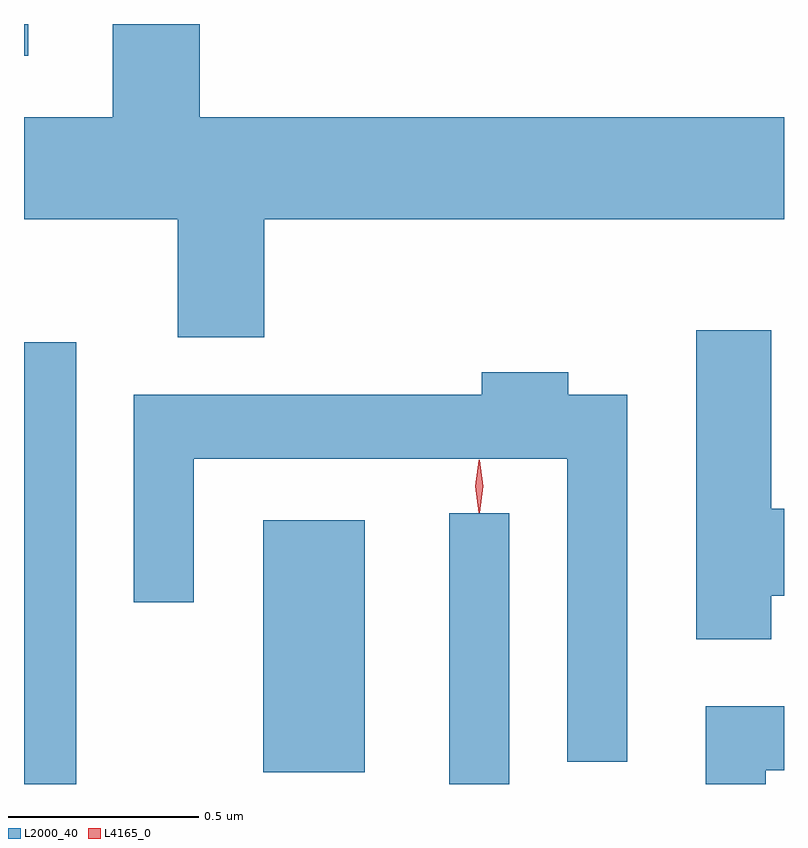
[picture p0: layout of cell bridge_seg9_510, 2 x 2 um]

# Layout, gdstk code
import gdstk
lib = gdstk.Library(unit=1e-6, precision=1e-09)
def R(c, l, rs):  # rectangles x0, y0, x1, y1
    for r in rs: c.add(gdstk.rectangle(r[:2], r[2:], *l))
def P(c, l, *ps):  # polygons
    for p in ps: c.add(gdstk.Polygon(p, *l))
L2000_40 = (2000, 40)
L4165_0 = (4165, 0)

bridge_seg9_510 = lib.new_cell('bridge_seg9_510')
R(bridge_seg9_510, L2000_40, [(548.377,1972.57,548.514,1973.733), (549.496,1972.57,549.654,1973.283), (549.006,1972.601,549.274,1973.264), (548.377,1974.486,548.388,1974.57)])
P(bridge_seg9_510, L2000_40, [(549.009,1974.056),(550.377,1974.056),(550.377,1974.324),(548.839,1974.324),(548.839,1974.57),(548.611,1974.57),(548.611,1974.324),(548.377,1974.324),(548.377,1974.056),(548.781,1974.056),(548.781,1973.746),(549.009,1973.746)],
  [(550.344,1973.066),(550.377,1973.066),(550.377,1973.294),(550.344,1973.294),(550.344,1973.764),(550.146,1973.764),(550.146,1972.951),(550.344,1972.951)],
  [(549.964,1973.594),(549.809,1973.594),(549.809,1973.654),(549.581,1973.654),(549.581,1973.594),(548.666,1973.594),(548.666,1973.048),(548.824,1973.048),(548.824,1973.426),(549.806,1973.426),(549.806,1972.628),(549.964,1972.628)],
  [(550.329,1972.606),(550.377,1972.606),(550.377,1972.774),(550.171,1972.774),(550.171,1972.57),(550.329,1972.57)])
P(bridge_seg9_510, L4165_0, [(549.574,1973.284),(549.565,1973.353),(549.574,1973.422),(549.575,1973.423),(549.576,1973.422),(549.585,1973.353),(549.576,1973.284),(549.575,1973.284)],
  [(549.575,1973.287),(549.574,1973.288),(549.565,1973.354),(549.574,1973.42),(549.574,1973.42),(549.575,1973.42),(549.584,1973.354),(549.575,1973.288)])

lib.write_gds('bridge_seg9_510.gds')
